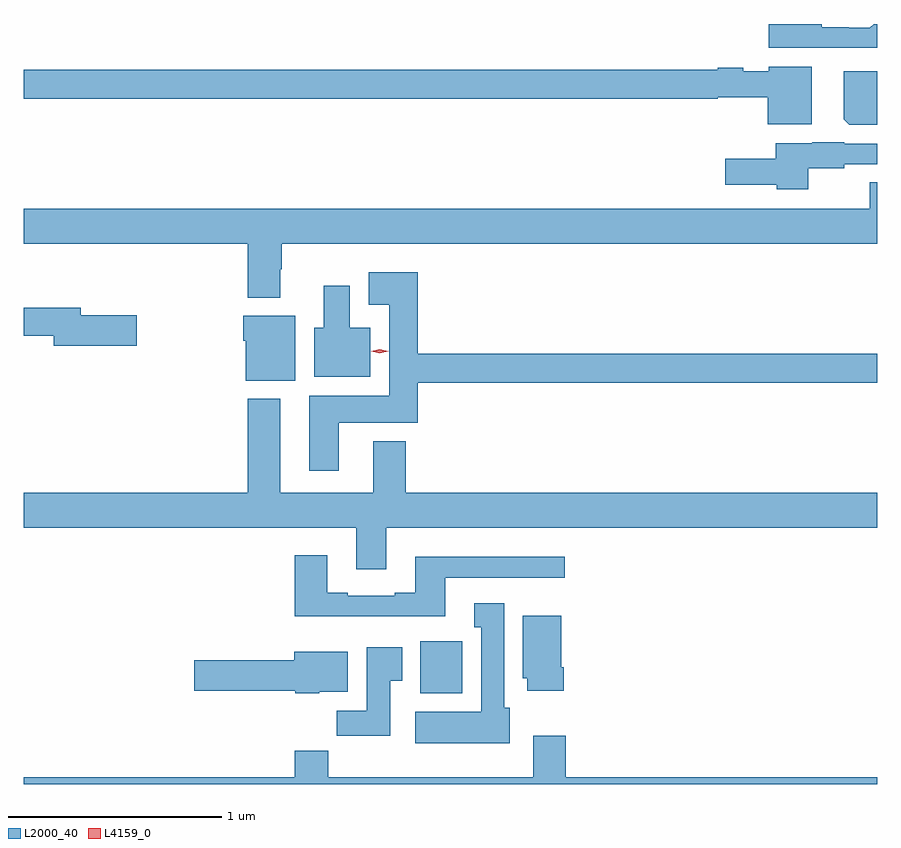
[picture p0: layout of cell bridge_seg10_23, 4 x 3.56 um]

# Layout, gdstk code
import gdstk
lib = gdstk.Library(unit=1e-6, precision=1e-09)
def R(c, l, rs):  # rectangles x0, y0, x1, y1
    for r in rs: c.add(gdstk.rectangle(r[:2], r[2:], *l))
def P(c, l, *ps):  # polygons
    for p in ps: c.add(gdstk.Polygon(p, *l))
L2000_40 = (2000, 40)
L4159_0 = (4159, 0)

bridge_seg10_23 = lib.new_cell('bridge_seg10_23')
R(bridge_seg10_23, L2000_40, [(997.565,1248.926,997.762,1249.168)])
P(bridge_seg10_23, L2000_40, [(999.706,1252.062),(999.69,1252.062),(999.672,1252.044),(999.572,1252.044),(999.572,1252.047),(999.445,1252.047),(999.445,1252.06),(999.349,1252.06),(999.349,1252.062),(999.197,1252.062),(999.197,1251.95),(999.706,1251.95)],
  [(999.4,1251.862),(999.198,1251.862),(999.198,1251.841),(999.078,1251.841),(999.078,1251.856),(998.958,1251.856),(998.958,1251.848),(995.706,1251.848),(995.706,1251.712),(998.958,1251.712),(998.958,1251.719),(999.194,1251.719),(999.194,1251.593),(999.4,1251.593)],
  [(999.706,1251.841),(999.548,1251.841),(999.548,1251.616),(999.574,1251.59),(999.706,1251.59)],
  [(999.382,1251.386),(999.552,1251.386),(999.552,1251.405),(999.706,1251.405),(999.706,1251.501),(999.552,1251.501),(999.552,1251.508),(999.402,1251.508),(999.402,1251.502),(999.23,1251.502),(999.23,1251.43),(998.994,1251.43),(998.994,1251.308),(999.234,1251.308),(999.234,1251.287),(999.382,1251.287)],
  [(996.907,1250.912),(996.915,1250.912),(996.915,1251.032),(999.706,1251.032),(999.706,1251.32),(999.671,1251.32),(999.671,1251.196),(995.706,1251.196),(995.706,1251.032),(996.755,1251.032),(996.755,1250.78),(996.907,1250.78)],
  [(997.183,1250.192),(997.553,1250.192),(997.553,1250.38),(999.706,1250.38),(999.706,1250.516),(997.553,1250.516),(997.553,1250.899),(997.323,1250.899),(997.323,1250.747),(997.418,1250.747),(997.418,1250.32),(997.043,1250.32),(997.043,1249.968),(997.183,1249.968)],
  [(997.33,1250.638),(997.234,1250.638),(997.234,1250.836),(997.112,1250.836),(997.112,1250.638),(997.067,1250.638),(997.067,1250.408),(997.33,1250.408)],
  [(996.235,1250.697),(995.974,1250.697),(995.974,1250.731),(995.706,1250.731),(995.706,1250.602),(995.846,1250.602),(995.846,1250.555),(996.235,1250.555)],
  [(996.979,1250.695),(996.734,1250.695),(996.734,1250.577),(996.746,1250.577),(996.746,1250.39),(996.979,1250.39)],
  [(997.405,1249.7),(999.706,1249.7),(999.706,1249.864),(997.496,1249.864),(997.496,1250.107),(997.343,1250.107),(997.343,1249.864),(996.907,1249.864),(996.907,1250.305),(996.755,1250.305),(996.755,1249.864),(995.706,1249.864),(995.706,1249.7),(997.265,1249.7),(997.265,1249.506),(997.405,1249.506)],
  [(997.681,1249.467),(998.242,1249.467),(998.242,1249.564),(997.541,1249.564),(997.541,1249.396),(997.445,1249.396),(997.445,1249.383),(997.225,1249.383),(997.225,1249.396),(997.129,1249.396),(997.129,1249.573),(996.977,1249.573),(996.977,1249.286),(997.681,1249.286)],
  [(997.984,1248.858),(997.957,1248.858),(997.957,1249.348),(997.817,1249.348),(997.817,1249.235),(997.85,1249.235),(997.85,1248.838),(997.541,1248.838),(997.541,1248.692),(997.984,1248.692)],
  [(998.237,1249.048),(998.224,1249.048),(998.224,1249.288),(998.045,1249.288),(998.045,1248.996),(998.066,1248.996),(998.066,1248.936),(998.237,1248.936)],
  [(997.423,1248.985),(997.48,1248.985),(997.48,1249.141),(997.313,1249.141),(997.313,1248.844),(997.174,1248.844),(997.174,1248.726),(997.423,1248.726)],
  [(997.092,1248.932),(997.225,1248.932),(997.225,1249.12),(996.974,1249.12),(996.974,1249.079),(996.504,1249.079),(996.504,1248.937),(996.978,1248.937),(996.978,1248.926),(997.092,1248.926)],
  [(999.706,1248.532),(998.246,1248.532),(998.246,1248.727),(998.093,1248.727),(998.093,1248.532),(997.133,1248.532),(997.133,1248.656),(996.977,1248.656),(996.977,1248.532),(995.706,1248.532),(995.706,1248.5),(999.706,1248.5)])
P(bridge_seg10_23, L4159_0, [(997.375,1250.518),(997.335,1250.528),(997.335,1250.528),(997.335,1250.528),(997.375,1250.538),(997.414,1250.529),(997.414,1250.528),(997.414,1250.528)])

lib.write_gds('bridge_seg10_23.gds')
